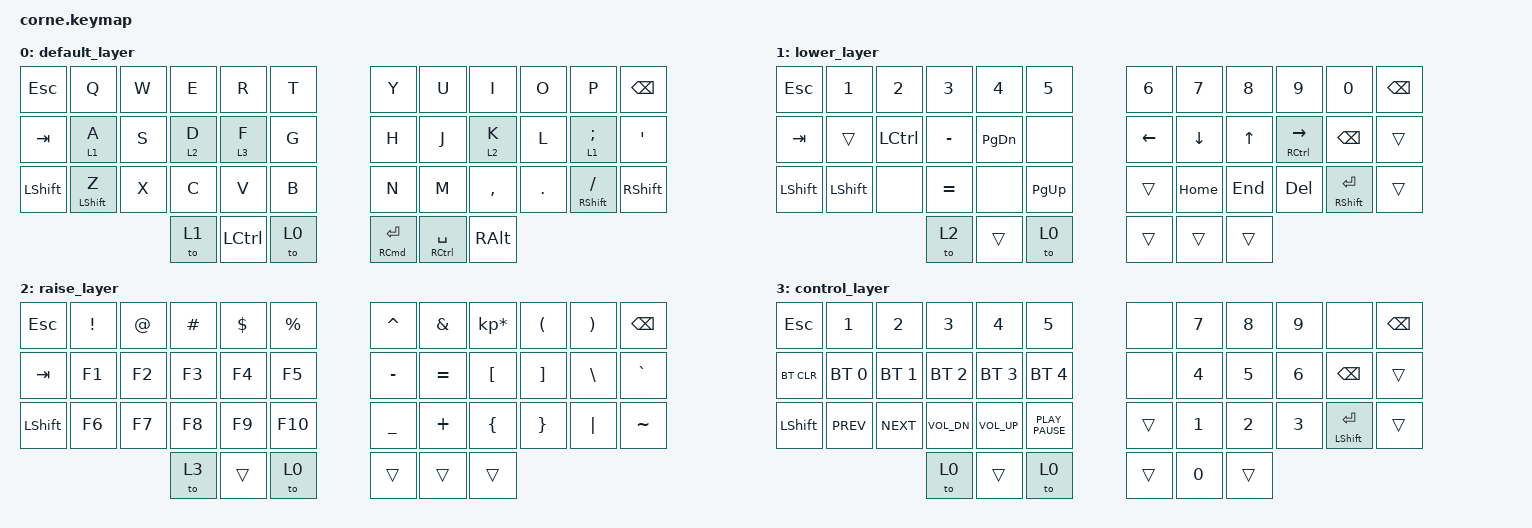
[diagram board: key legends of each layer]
/*
 * Copyright (c) 2020 The ZMK Contributors
 *
 * SPDX-License-Identifier: MIT
 */

#include <behaviors.dtsi>
#include <dt-bindings/zmk/bt.h>
#include <dt-bindings/zmk/keys.h>

/ {
    behaviors {
        tp: tap_preferred {
            compatible = "zmk,behavior-hold-tap";
            label = "TAP_PREFERRED";
            #binding-cells = <2>;
            tapping-term-ms = <150>;
            quick-tap-ms = <0>;
            flavor = "tap-preferred";
            bindings = <&kp>, <&kp>;
        };
    };

    combos { compatible = "zmk,combos"; };

    keymap {
        compatible = "zmk,keymap";

        default_layer {
            // -----------------------------------------------------------------------------------------
            // |  TAB |  Q  |  W  |  E  |  R  |  T  |   |  Y  |  U   |  I  |  O  |  P  | BKSP |
            // | CTRL |  A  |  S  |  D  |  F  |  G  |   |  H  |  J   |  K  |  L  |  ;  |  '   |
            // | SHFT |  Z  |  X  |  C  |  V  |  B  |   |  N  |  M   |  ,  |  .  |  /  | ESC  |
            //                    | GUI | LWR | SPC |   | ENT | RSE  | ALT |

            bindings = <
&kp ESCAPE  &kp Q             &kp W  &kp E    &kp R             &kp T    &kp Y                  &kp U                    &kp I      &kp O    &kp P                  &kp BSPC
&kp TAB     &lt 1 A           &kp S  &lt 2 D  &lt 3 F           &kp G    &kp H                  &kp J                    &lt 2 K    &kp L    &lt 1 SEMI             &kp SQT
&kp LSHFT   &mt LEFT_SHIFT Z  &kp X  &kp C    &kp V             &kp B    &kp N                  &kp M                    &kp COMMA  &kp DOT  &mt RIGHT_SHIFT SLASH  &kp RIGHT_SHIFT
                                     &to 1    &kp LEFT_CONTROL  &to 0    &mt RIGHT_COMMAND RET  &mt RIGHT_CONTROL SPACE  &kp RALT
            >;
        };

        lower_layer {
            // -----------------------------------------------------------------------------------------
            // |  TAB |  1  |  2  |  3  |  4  |  5  |   |  6  |  7  |  8  |  9  |  0  | BKSP |
            // | BTCLR| BT1 | BT2 | BT3 | BT4 | BT5 |   | LFT | DWN |  UP | RGT |     |      |
            // | SHFT |     |     |     |     |     |   |     |     |     |     |     |      |
            //                    | GUI |     | SPC |   | ENT |     | ALT |

            bindings = <
&kp ESC    &kp N1          &kp N2            &kp N3     &kp N4         &kp N5         &kp N6    &kp N7    &kp N8   &kp N9                         &kp N0                 &kp BSPC
&kp TAB    &trans          &kp LEFT_CONTROL  &kp MINUS  &kp PAGE_DOWN  &none          &kp LEFT  &kp DOWN  &kp UP   &mt RIGHT_CONTROL RIGHT_ARROW  &kp BACKSPACE          &trans
&kp LSHFT  &kp LEFT_SHIFT  &none             &kp EQUAL  &none          &kp PAGE_UP    &trans    &kp HOME  &kp END  &kp DEL                        &mt RIGHT_SHIFT ENTER  &trans
                                             &to 2      &trans         &to 0          &trans    &trans    &trans
            >;
        };

        raise_layer {
            // -----------------------------------------------------------------------------------------
            // |  TAB |  !  |  @  |  #  |  $  |  %  |   |  ^  |  &  |  *  |  (  |  )  | BKSP |
            // | CTRL |     |     |     |     |     |   |  -  |  =  |  [  |  ]  |  \  |  `   |
            // | SHFT |     |     |     |     |     |   |  _  |  +  |  {  |  }  | "|" |  ~   |
            //                    | GUI |     | SPC |   | ENT |     | ALT |

            bindings = <
&kp ESCAPE  &kp EXCL  &kp AT  &kp HASH  &kp DLLR  &kp PRCNT    &kp CARET  &kp AMPS   &kp KP_MULTIPLY  &kp LPAR  &kp RPAR  &kp BSPC
&kp TAB     &kp F1    &kp F2  &kp F3    &kp F4    &kp F5       &kp MINUS  &kp EQUAL  &kp LBKT         &kp RBKT  &kp BSLH  &kp GRAVE
&kp LSHFT   &kp F6    &kp F7  &kp F8    &kp F9    &kp F10      &kp UNDER  &kp PLUS   &kp LBRC         &kp RBRC  &kp PIPE  &kp TILDE
                              &to 3     &trans    &to 0        &trans     &trans     &trans
            >;
        };

        control_layer {
            bindings = <
&kp ESCAPE  &kp N1        &kp N2        &kp N3        &kp N4        &kp N5              &none   &kp N7        &kp N8        &kp N9        &none                 &kp BSPC
&bt BT_CLR  &bt BT_SEL 0  &bt BT_SEL 1  &bt BT_SEL 2  &bt BT_SEL 3  &bt BT_SEL 4        &none   &kp NUMBER_4  &kp NUMBER_5  &kp NUMBER_6  &kp BACKSPACE         &trans
&kp LSHFT   &kp K_PREV    &kp K_NEXT    &kp C_VOL_DN  &kp C_VOL_UP  &kp K_PLAY_PAUSE    &trans  &kp NUMBER_1  &kp NUMBER_2  &kp NUMBER_3  &mt LEFT_SHIFT ENTER  &trans
                                        &to 0         &trans        &to 0               &trans  &kp NUMBER_0  &trans
            >;
        };
    };
};
